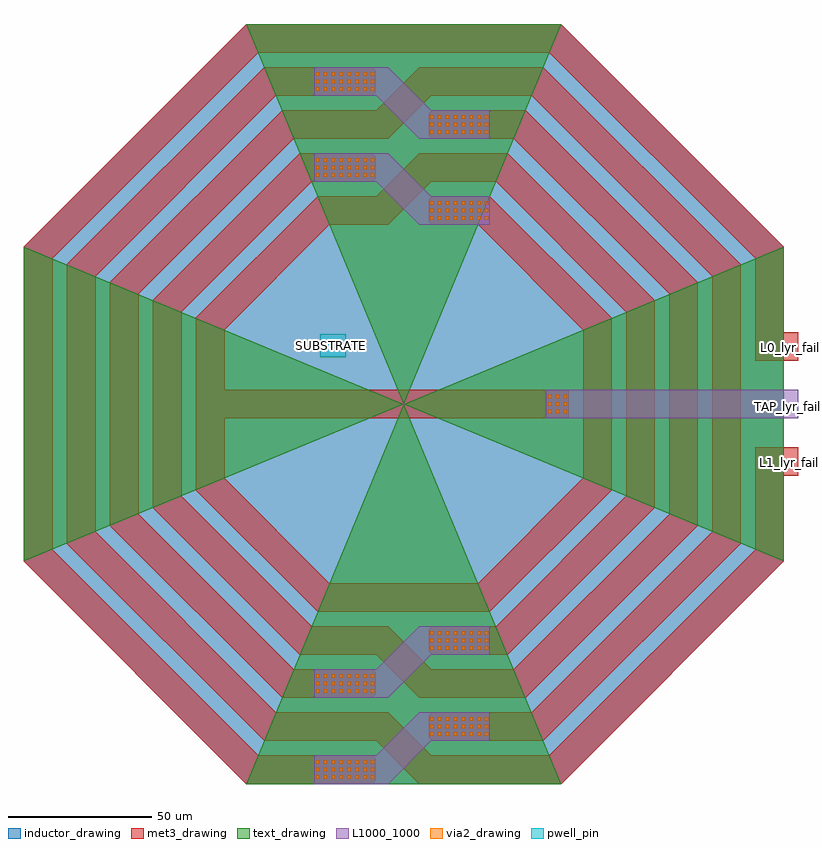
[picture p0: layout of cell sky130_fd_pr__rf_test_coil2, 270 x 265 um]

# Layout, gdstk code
import gdstk
lib = gdstk.Library(unit=1e-6, precision=1e-09)
def R(c, l, rs):  # rectangles x0, y0, x1, y1
    for r in rs: c.add(gdstk.rectangle(r[:2], r[2:], *l))
def A(c, l, x, y, w, h, nx, ny, dx, dy):  # array of equal rectangles
    R(c, l, [(x+i*dx, y+j*dy, x+i*dx+w, y+j*dy+h) for i in range(nx) for j in range(ny)])
def P(c, l, *ps):  # polygons
    for p in ps: c.add(gdstk.Polygon(p, *l))
via2_drawing = (69, 44)
met3_drawing = (70, 20)
inductor_drawing = (82, 24)
text_drawing = (83, 44)
pwell_pin = (122, 16)
L1000_1000 = (1000, 1000)

sky130_fd_pr__rf_test_co = lib.new_cell('sky130_fd_pr__rf_test_coil2')
A(sky130_fd_pr__rf_test_co, via2_drawing, -30.61, -130.72, 1.2, 1.2, 1, 3, 0, 2.62)
A(sky130_fd_pr__rf_test_co, via2_drawing, -27.99, -130.72, 1.2, 1.2, 6, 3, 2.77, 2.62)
A(sky130_fd_pr__rf_test_co, via2_drawing, -11.52, -130.72, 1.2, 1.2, 1, 3, 0, 2.62)
A(sky130_fd_pr__rf_test_co, via2_drawing, 9.205, -115.72, 1.2, 1.2, 1, 3, 0, 2.62)
A(sky130_fd_pr__rf_test_co, via2_drawing, 11.825, -115.72, 1.2, 1.2, 6, 3, 2.77, 2.62)
A(sky130_fd_pr__rf_test_co, via2_drawing, 28.295, -115.72, 1.2, 1.2, 1, 3, 0, 2.62)
A(sky130_fd_pr__rf_test_co, via2_drawing, -30.61, -100.72, 1.2, 1.2, 1, 3, 0, 2.62)
A(sky130_fd_pr__rf_test_co, via2_drawing, -27.99, -100.72, 1.2, 1.2, 6, 3, 2.77, 2.62)
A(sky130_fd_pr__rf_test_co, via2_drawing, -11.52, -100.72, 1.2, 1.2, 1, 3, 0, 2.62)
A(sky130_fd_pr__rf_test_co, via2_drawing, 9.2, -85.725, 1.2, 1.2, 1, 3, 0, 2.62)
A(sky130_fd_pr__rf_test_co, via2_drawing, 11.82, -85.725, 1.2, 1.2, 6, 3, 2.77, 2.62)
A(sky130_fd_pr__rf_test_co, via2_drawing, 28.29, -85.725, 1.2, 1.2, 1, 3, 0, 2.62)
A(sky130_fd_pr__rf_test_co, via2_drawing, 50.3, -3.22, 1.2, 1.2, 1, 3, 0, 2.62)
A(sky130_fd_pr__rf_test_co, via2_drawing, 52.92, -3.22, 1.2, 1.2, 1, 3, 0, 2.62)
A(sky130_fd_pr__rf_test_co, via2_drawing, 55.69, -3.22, 1.2, 1.2, 1, 3, 0, 2.62)
A(sky130_fd_pr__rf_test_co, via2_drawing, 9.205, 64.285, 1.2, 1.2, 1, 3, 0, 2.62)
A(sky130_fd_pr__rf_test_co, via2_drawing, 11.825, 64.285, 1.2, 1.2, 6, 3, 2.77, 2.62)
A(sky130_fd_pr__rf_test_co, via2_drawing, 28.295, 64.285, 1.2, 1.2, 1, 3, 0, 2.62)
A(sky130_fd_pr__rf_test_co, via2_drawing, -30.615, 79.285, 1.2, 1.2, 1, 3, 0, 2.62)
A(sky130_fd_pr__rf_test_co, via2_drawing, -27.995, 79.285, 1.2, 1.2, 6, 3, 2.77, 2.62)
A(sky130_fd_pr__rf_test_co, via2_drawing, -11.525, 79.285, 1.2, 1.2, 1, 3, 0, 2.62)
A(sky130_fd_pr__rf_test_co, via2_drawing, 9.205, 94.275, 1.2, 1.2, 1, 3, 0, 2.62)
A(sky130_fd_pr__rf_test_co, via2_drawing, 11.825, 94.275, 1.2, 1.2, 6, 3, 2.77, 2.62)
A(sky130_fd_pr__rf_test_co, via2_drawing, 28.295, 94.275, 1.2, 1.2, 1, 3, 0, 2.62)
A(sky130_fd_pr__rf_test_co, via2_drawing, -30.61, 109.28, 1.2, 1.2, 1, 3, 0, 2.62)
A(sky130_fd_pr__rf_test_co, via2_drawing, -27.99, 109.28, 1.2, 1.2, 6, 3, 2.77, 2.62)
A(sky130_fd_pr__rf_test_co, via2_drawing, -11.52, 109.28, 1.2, 1.2, 1, 3, 0, 2.62)
R(sky130_fd_pr__rf_test_co, met3_drawing, [(-31.155,-131.265,-9.775,-123.735), (8.66,-116.265,30.04,-108.735), (-31.155,-101.265,-9.775,-93.735), (8.66,-86.265,30.04,-78.735), (49.755,-3.765,57.285,3.765), (8.66,63.735,30.04,71.265), (-31.155,78.735,-9.775,86.265), (8.66,93.735,30.04,101.265), (-31.155,108.735,-9.775,116.265)])
P(sky130_fd_pr__rf_test_co, met3_drawing, [(125.43,47.82),(47.82,125.43),(54.89,132.5),(132.5,54.89)],
  [(54.89,-132.5),(47.82,-125.43),(125.43,-47.82),(132.5,-54.89)],
  [(-54.89,-132.5),(-132.5,-54.89),(-125.43,-47.82),(-47.82,-125.43)],
  [(-125.43,47.82),(-132.5,54.89),(-54.89,132.5),(-47.82,125.43)],
  [(110.43,41.61),(41.61,110.43),(48.68,117.5),(117.5,48.68)],
  [(48.68,-117.5),(41.61,-110.43),(110.43,-41.61),(117.5,-48.68)],
  [(-48.68,-117.5),(-117.5,-48.68),(-110.43,-41.61),(-41.61,-110.43)],
  [(9.895,-87.5),(8.66,-86.265),(8.66,-78.735),(9.895,-77.5),(36.255,-77.5),(36.255,-87.5)],
  [(-110.43,41.61),(-117.5,48.68),(-48.68,117.5),(-41.61,110.43)],
  [(5.425,-102.5),(-9.575,-87.5),(-36.255,-87.5),(-36.255,-77.5),(-5.425,-77.5),(9.575,-92.5),(42.465,-92.5),(42.465,-102.5)],
  [(5.425,-132.5),(-9.575,-117.5),(-48.68,-117.5),(-48.68,-107.5),(-5.425,-107.5),(9.575,-122.5),(54.89,-122.5),(54.89,-132.5)],
  [(95.43,35.395),(35.395,95.43),(42.465,102.5),(102.5,42.465)],
  [(42.465,-102.5),(35.395,-95.43),(95.43,-35.395),(102.5,-42.465)],
  [(-42.465,-102.5),(-102.5,-42.465),(-95.43,-35.395),(-35.395,-95.43)],
  [(-48.68,107.5),(-48.68,117.5),(-11.01,117.5),(-9.775,116.265),(-9.775,108.735),(-11.01,107.5)],
  [(-95.43,35.395),(-102.5,42.465),(-42.465,102.5),(-35.395,95.43)],
  [(-42.465,92.5),(-42.465,102.5),(-9.575,102.5),(5.425,117.5),(48.68,117.5),(48.68,107.5),(9.575,107.5),(-5.425,92.5)],
  [(80.43,29.185),(29.185,80.43),(36.255,87.5),(87.5,36.255)],
  [(36.255,-87.5),(29.185,-80.43),(80.43,-29.185),(87.5,-36.255)],
  [(-36.255,-87.5),(-87.5,-36.255),(-80.43,-29.185),(-29.185,-80.43)],
  [(-36.255,77.5),(-36.255,87.5),(-11.01,87.5),(-9.775,86.265),(-9.775,78.735),(-11.01,77.5)],
  [(-80.43,29.185),(-87.5,36.255),(-36.255,87.5),(-29.185,80.43)],
  [(9.895,62.5),(8.66,63.735),(8.66,71.265),(9.895,72.5),(30.04,72.5),(30.04,62.5)],
  [(65.43,22.97),(22.97,65.43),(30.04,72.5),(72.5,30.04)],
  [(30.04,-72.5),(22.97,-65.43),(65.43,-22.97),(72.5,-30.04)],
  [(-30.04,-72.5),(-72.5,-30.04),(-65.43,-22.97),(-22.97,-65.43)],
  [(-65.43,22.97),(-72.5,30.04),(-30.04,72.5),(-22.97,65.43)],
  [(-30.04,62.5),(-30.04,72.5),(-9.575,72.5),(5.425,87.5),(36.255,87.5),(36.255,77.5),(9.575,77.5),(-5.425,62.5)],
  [(9.895,92.5),(8.66,93.735),(8.66,101.265),(9.895,102.5),(42.465,102.5),(42.465,92.5)],
  [(-42.465,-102.5),(-42.465,-92.5),(-11.01,-92.5),(-9.775,-93.735),(-9.775,-101.265),(-11.01,-102.5)],
  [(9.895,-117.5),(8.66,-116.265),(8.66,-108.735),(9.895,-107.5),(48.68,-107.5),(48.68,-117.5)],
  [(-54.89,-132.5),(-54.89,-122.5),(-11.01,-122.5),(-9.775,-123.735),(-9.775,-131.265),(-11.01,-132.5)])
P(sky130_fd_pr__rf_test_co, inductor_drawing, [(-54.89,-132.5),(-132.5,-54.89),(-132.5,54.89),(-54.89,132.5),(54.89,132.5),(132.5,54.89),(132.5,-54.89),(54.89,-132.5)])
P(sky130_fd_pr__rf_test_co, text_drawing, [(0,0),(-54.893,132.5),(54.893,132.5)],
  [(132.5,-54.893),(0,0),(132.5,54.893)],
  [(-54.893,-132.5),(0,0),(54.893,-132.5)],
  [(-132.5,-54.893),(-132.5,54.893),(0,0)])
R(sky130_fd_pr__rf_test_co, pwell_pin, [(-29.216,16.287,-20.317,24.347)])
R(sky130_fd_pr__rf_test_co, L1000_1000, [(-31.05,-131.16,-9.88,-123.84), (8.765,-116.16,29.935,-108.84), (-31.05,-101.16,-9.88,-93.84), (8.765,-86.16,29.935,-78.84), (49.54,-5,137.5,5), (49.86,-3.66,57.18,3.66), (8.765,63.84,29.935,71.16), (-31.05,78.84,-9.88,86.16), (8.765,93.84,29.935,101.16), (-31.05,108.84,-9.88,116.16)])
P(sky130_fd_pr__rf_test_co, L1000_1000, [(-31.155,-102.5),(-31.155,-92.5),(-9.575,-92.5),(5.425,-77.5),(30.04,-77.5),(30.04,-87.5),(9.575,-87.5),(-5.425,-102.5)],
  [(-31.155,-132.5),(-31.155,-122.5),(-9.575,-122.5),(5.425,-107.5),(30.04,-107.5),(30.04,-117.5),(9.575,-117.5),(-5.425,-132.5)],
  [(5.425,92.5),(-9.575,107.5),(-31.155,107.5),(-31.155,117.5),(-5.425,117.5),(9.575,102.5),(30.04,102.5),(30.04,92.5)],
  [(5.425,62.5),(-9.575,77.5),(-31.155,77.5),(-31.155,87.5),(-5.425,87.5),(9.575,72.5),(30.04,72.5),(30.04,62.5)])
sky130_fd_pr__rf_test_co.add(gdstk.FlexPath([(54.89,127.5),(0,127.5)], 10, ends="flush", simple_path=True, layer=70, datatype=20))  # met3_drawing
sky130_fd_pr__rf_test_co.add(gdstk.FlexPath([(-127.5,54.89),(-127.5,-54.89)], 10, ends="flush", simple_path=True, layer=70, datatype=20))  # met3_drawing
sky130_fd_pr__rf_test_co.add(gdstk.FlexPath([(0,127.5),(-54.89,127.5)], 10, ends="flush", simple_path=True, layer=70, datatype=20))  # met3_drawing
sky130_fd_pr__rf_test_co.add(gdstk.FlexPath([(112.5,-48.68),(112.5,48.68)], 10, ends="flush", simple_path=True, layer=70, datatype=20))  # met3_drawing
sky130_fd_pr__rf_test_co.add(gdstk.FlexPath([(-112.5,48.68),(-112.5,-48.68)], 10, ends="flush", simple_path=True, layer=70, datatype=20))  # met3_drawing
sky130_fd_pr__rf_test_co.add(gdstk.FlexPath([(97.5,-42.465),(97.5,42.465)], 10, ends="flush", simple_path=True, layer=70, datatype=20))  # met3_drawing
sky130_fd_pr__rf_test_co.add(gdstk.FlexPath([(-97.5,42.465),(-97.5,-42.465)], 10, ends="flush", simple_path=True, layer=70, datatype=20))  # met3_drawing
sky130_fd_pr__rf_test_co.add(gdstk.FlexPath([(82.5,-36.255),(82.5,36.255)], 10, ends="flush", simple_path=True, layer=70, datatype=20))  # met3_drawing
sky130_fd_pr__rf_test_co.add(gdstk.FlexPath([(-82.5,36.255),(-82.5,-36.255)], 10, ends="flush", simple_path=True, layer=70, datatype=20))  # met3_drawing
sky130_fd_pr__rf_test_co.add(gdstk.FlexPath([(67.5,-30.04),(67.5,30.04)], 10, ends="flush", simple_path=True, layer=70, datatype=20))  # met3_drawing
sky130_fd_pr__rf_test_co.add(gdstk.FlexPath([(-30.04,-67.5),(30.04,-67.5)], 10, ends="flush", simple_path=True, layer=70, datatype=20))  # met3_drawing
sky130_fd_pr__rf_test_co.add(gdstk.FlexPath([(-67.5,30.04),(-67.5,-30.04)], 10, ends="flush", simple_path=True, layer=70, datatype=20))  # met3_drawing
sky130_fd_pr__rf_test_co.add(gdstk.FlexPath([(-72.5,0),(57.5,0)], 10, ends="flush", simple_path=True, layer=70, datatype=20))  # met3_drawing
sky130_fd_pr__rf_test_co.add(gdstk.FlexPath([(122.5,20),(137.5,20)], 10, ends="flush", simple_path=True, layer=70, datatype=20))  # met3_drawing
sky130_fd_pr__rf_test_co.add(gdstk.FlexPath([(122.5,-20),(137.5,-20)], 10, ends="flush", simple_path=True, layer=70, datatype=20))  # met3_drawing
sky130_fd_pr__rf_test_co.add(gdstk.FlexPath([(127.5,15),(127.5,54.89)], 10, ends="flush", simple_path=True, layer=70, datatype=20))  # met3_drawing
sky130_fd_pr__rf_test_co.add(gdstk.FlexPath([(127.5,-54.89),(127.5,-15)], 10, ends="flush", simple_path=True, layer=70, datatype=20))  # met3_drawing
sky130_fd_pr__rf_test_co.add(gdstk.Label('TAP_lyr_fail', (134.246,-0.712), layer=69, texttype=5))
sky130_fd_pr__rf_test_co.add(gdstk.Label('L0_lyr_fail', (134.893,19.621), layer=70, texttype=5))
sky130_fd_pr__rf_test_co.add(gdstk.Label('L1_lyr_fail', (134.493,-20.301), layer=70, texttype=5))
sky130_fd_pr__rf_test_co.add(gdstk.Label('SUBSTRATE', (-25.354,20.317), layer=64, texttype=59))

lib.write_gds('sky130_fd_pr__rf_test_coil2.gds')
